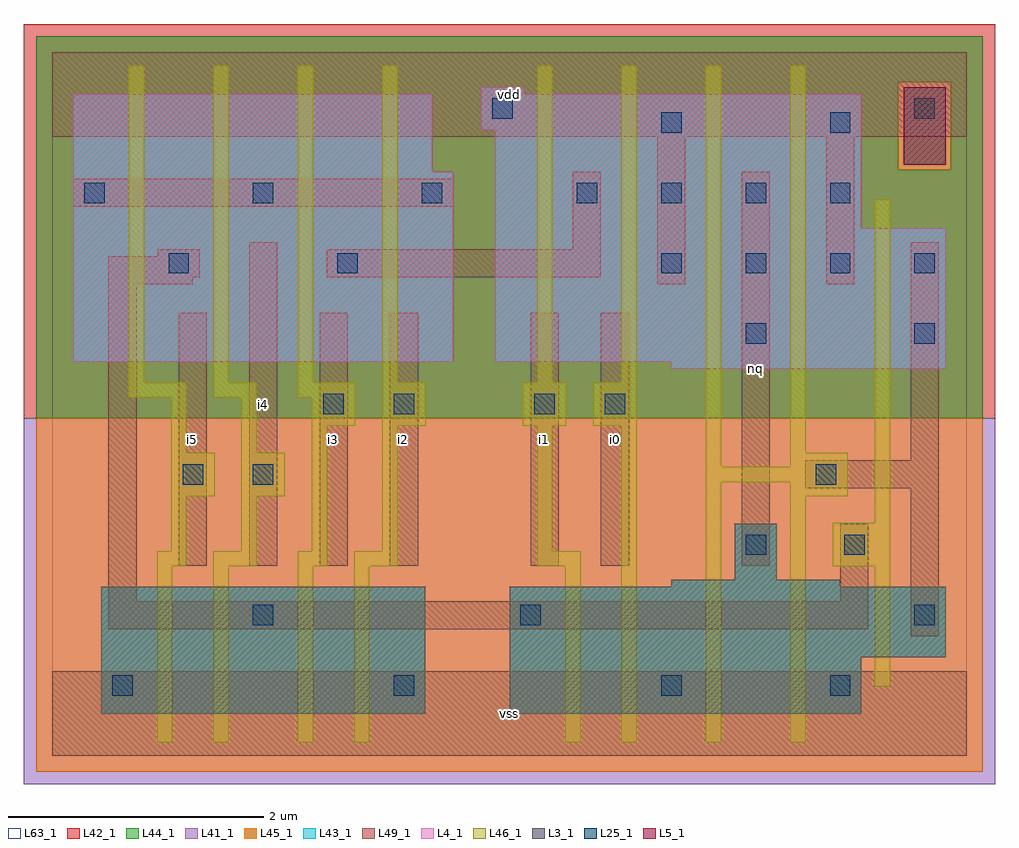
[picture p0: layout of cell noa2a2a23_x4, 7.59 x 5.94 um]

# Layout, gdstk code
import gdstk
lib = gdstk.Library(unit=1e-6, precision=1e-09)
def R(c, l, rs):  # rectangles x0, y0, x1, y1
    for r in rs: c.add(gdstk.rectangle(r[:2], r[2:], *l))
def A(c, l, x, y, w, h, nx, ny, dx, dy):  # array of equal rectangles
    R(c, l, [(x+i*dx, y+j*dy, x+i*dx+w, y+j*dy+h) for i in range(nx) for j in range(ny)])
L3_1 = (3, 1)
L4_1 = (4, 1)
L5_1 = (5, 1)
L25_1 = (25, 1)
L41_1 = (41, 1)
L42_1 = (42, 1)
L43_1 = (43, 1)
L44_1 = (44, 1)
L45_1 = (45, 1)
L46_1 = (46, 1)
L49_1 = (49, 1)
L63_1 = (63, 1)

noa2a2a23_x4 = lib.new_cell('noa2a2a23_x4')
R(noa2a2a23_x4, L3_1, [(0.385,0.33,2.915,1.32), (3.575,0.33,6.325,0.77), (3.575,0.77,6.985,1.32), (4.84,1.32,6.16,1.375), (5.335,1.375,5.665,1.815)])
R(noa2a2a23_x4, L4_1, [(4.84,3.025,6.985,3.08), (0.165,3.08,3.135,4.565), (3.465,3.08,6.985,4.125), (3.465,4.125,6.325,4.895), (0.165,4.565,2.97,5.17), (3.355,4.895,6.325,5.17), (3.355,5.17,3.685,5.225)])
R(noa2a2a23_x4, L5_1, [(6.655,4.62,6.985,5.225)])
A(noa2a2a23_x4, L25_1, 4.76, 3.77, 0.16, 0.16, 4, 1, 0.66, 0)
A(noa2a2a23_x4, L25_1, 0.25, 4.32, 0.16, 0.16, 3, 1, 1.32, 0)
A(noa2a2a23_x4, L25_1, 4.1, 4.32, 0.16, 0.16, 4, 1, 0.66, 0)
R(noa2a2a23_x4, L25_1, [(0.47,0.47,0.63,0.63), (2.67,0.47,2.83,0.63), (4.76,0.47,4.92,0.63), (6.08,0.47,6.24,0.63), (1.57,1.02,1.73,1.18), (3.66,1.02,3.82,1.18), (6.74,1.02,6.9,1.18), (5.42,1.57,5.58,1.73), (6.19,1.57,6.35,1.73), (1.02,2.12,1.18,2.28), (1.57,2.12,1.73,2.28), (5.97,2.12,6.13,2.28), (2.12,2.67,2.28,2.83), (2.67,2.67,2.83,2.83), (3.77,2.67,3.93,2.83), (4.32,2.67,4.48,2.83), (5.42,3.22,5.58,3.38), (6.74,3.22,6.9,3.38), (0.91,3.77,1.07,3.93), (2.23,3.77,2.39,3.93), (4.76,4.87,4.92,5.03), (6.08,4.87,6.24,5.03), (3.44,4.98,3.6,5.14), (6.74,4.98,6.9,5.14)])
R(noa2a2a23_x4, L41_1, [(-0.22,-0.22,7.37,2.64)])
R(noa2a2a23_x4, L42_1, [(-0.22,2.64,7.37,5.72)])
R(noa2a2a23_x4, L43_1, [(0.385,0.33,2.915,1.32), (3.575,0.33,6.325,0.77), (3.575,0.77,6.985,1.32), (4.84,1.32,6.16,1.375), (5.335,1.375,5.665,1.815), (4.84,3.025,6.985,3.08), (0.165,3.08,3.135,4.565), (3.465,3.08,6.985,4.125), (3.465,4.125,6.325,4.895), (0.165,4.565,2.97,5.17), (6.655,4.62,6.985,5.225), (3.355,4.895,6.325,5.17), (3.355,5.17,3.685,5.225)])
R(noa2a2a23_x4, L44_1, [(-0.125,2.64,7.275,4.58), (-0.125,4.58,6.615,5.265), (7.025,4.58,7.275,5.265), (-0.125,5.265,7.275,5.625)])
R(noa2a2a23_x4, L45_1, [(-0.125,-0.125,7.275,2.64), (6.615,4.58,7.025,5.265)])
A(noa2a2a23_x4, L46_1, 0.6, 2.92, 0.12, 2.475, 4, 1, 0.66, 0)
R(noa2a2a23_x4, L46_1, [(0.82,0.105,0.94,1.48), (1.26,0.105,1.38,1.48), (1.92,0.105,2.04,1.48), (2.36,0.105,2.48,1.48), (4.01,0.105,4.13,1.48), (4.45,0.105,4.57,2.58), (5.11,0.105,5.23,2.14), (5.77,0.105,5.89,2.03), (6.43,0.545,6.55,1.48), (0.82,1.48,1.05,1.6), (1.26,1.48,1.6,1.6), (1.92,1.48,2.15,1.6), (2.36,1.48,2.7,1.6), (3.79,1.48,4.13,1.6), (6.1,1.48,6.55,1.82), (0.93,1.6,1.05,2.03), (1.48,1.6,1.6,2.03), (2.03,1.6,2.15,2.58), (2.58,1.6,2.7,2.58), (3.79,1.6,3.91,2.58), (6.43,1.82,6.55,4.35), (0.93,2.03,1.27,2.37), (1.48,2.03,1.82,2.37), (5.77,2.03,6.22,2.14), (5.11,2.14,6.22,2.26), (5.11,2.26,5.23,5.395), (5.77,2.26,6.22,2.37), (0.93,2.37,1.05,2.8), (1.48,2.37,1.6,2.8), (5.77,2.37,5.89,5.395), (2.03,2.58,2.37,2.8), (2.58,2.58,2.92,2.92), (3.68,2.58,4.02,2.92), (4.23,2.58,4.57,2.92), (0.6,2.8,1.05,2.92), (1.26,2.8,1.6,2.92), (1.92,2.8,2.37,2.92), (3.79,2.92,3.91,5.395), (4.45,2.92,4.57,5.395)])
R(noa2a2a23_x4, L49_1, [(0,0,7.15,0.66), (6.71,0.935,6.93,2.09), (0.44,0.99,6.38,1.21), (0.44,1.21,0.66,3.685), (6.16,1.21,6.38,1.815), (0.99,1.485,1.21,3.465), (1.54,1.485,1.76,4.015), (2.09,1.485,2.31,3.465), (2.64,1.485,2.86,3.465), (3.74,1.485,3.96,3.465), (4.29,1.485,4.51,3.465), (5.39,1.485,5.61,4.565), (5.885,2.09,6.93,2.31), (6.71,2.31,6.93,4.015), (0.44,3.685,1.1,3.74), (4.73,3.685,4.95,4.84), (6.05,3.685,6.27,4.84), (0.44,3.74,1.155,3.905), (2.145,3.74,4.29,3.96), (0.825,3.905,1.155,3.96), (4.07,3.96,4.29,4.565), (0.165,4.29,3.135,4.51), (0,4.84,7.15,5.5)])
R(noa2a2a23_x4, L63_1, [(0,0,7.15,5.5)])
noa2a2a23_x4.add(gdstk.Label('i5', (1.1,2.475), layer=49, texttype=1))
noa2a2a23_x4.add(gdstk.Label('i4', (1.65,2.75), layer=49, texttype=1))
noa2a2a23_x4.add(gdstk.Label('i3', (2.2,2.475), layer=49, texttype=1))
noa2a2a23_x4.add(gdstk.Label('vss', (3.575,0.33), layer=49, texttype=1))
noa2a2a23_x4.add(gdstk.Label('i2', (2.75,2.475), layer=49, texttype=1))
noa2a2a23_x4.add(gdstk.Label('i1', (3.85,2.475), layer=49, texttype=1))
noa2a2a23_x4.add(gdstk.Label('vdd', (3.575,5.17), layer=49, texttype=1))
noa2a2a23_x4.add(gdstk.Label('i0', (4.4,2.475), layer=49, texttype=1))
noa2a2a23_x4.add(gdstk.Label('nq', (5.5,3.025), layer=49, texttype=1))

lib.write_gds('noa2a2a23_x4.gds')
